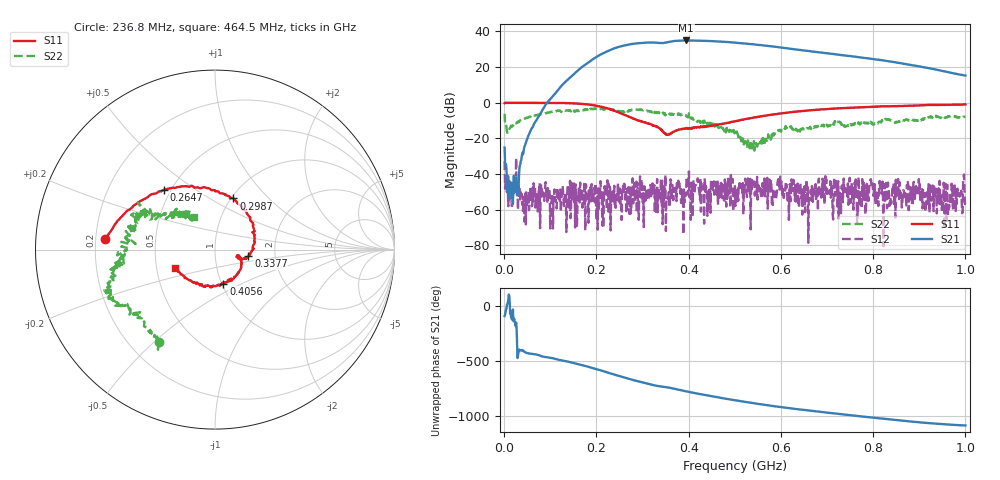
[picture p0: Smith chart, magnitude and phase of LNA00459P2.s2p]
! Created with skrf 1.9.0 (http://scikit-rf.org).
# Hz S RI R 50.0
!freq ReS11 ImS11 ReS21 ImS21 ReS12 ImS12 ReS22 ImS22
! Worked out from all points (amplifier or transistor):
!   1001 points, 1 MHz to 1 GHz, reference 50 ohm
!   highest |S21| = 35.0 dB at 394.6 MHz (marker M1)
!   |S21| within 3 dB of that: 257.5 MHz to 569.1 MHz (311.7 MHz wide, 75.4 % of centre)
!   unconditionally stable (mu >= 1): 3.472 MHz to 52.85 MHz; 298.4 MHz to 400.3 MHz; 400.8 MHz to end of sweep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
!   at 166.8 MHz: K = 1.79, MAG = 32.2 dB, |S12| = -55.0 dB
!   at 500.5 MHz: K = 2.07, MAG = 34.4 dB, |S12| = -46.9 dB
!   at 1 GHz: K = 7.32, MAG = 23.4 dB, |S12| = -54.7 dB
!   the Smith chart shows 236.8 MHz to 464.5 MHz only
!   S11 on the Smith chart (normalised r, x): 236.8 MHz: 0.24, +0.05; 264.7 MHz: 0.46, +0.38; 298.7 MHz: 1.02, +0.64; 337.7 MHz: 1.45, -0.11; 405.6 MHz: 1.02, -0.41; 464.5 MHz: 0.62, -0.13
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1000000  0.9733 -0.0103  0.00154 -0.0556  -0.00557 0.0219  0.3966 0.2941
1.08892e8  0.5277 -0.8437  -0.82 -1.516  0.00234 -0.00289  0.4208 -0.3852
1.67833e8  -0.2245 -0.9018  -9.862 -0.5289  -0.00227 0.00136  0.0324 -0.6307
2.07793e8  -0.6572 -0.4239  -15.8 15.47  0.000859 -0.00257  -0.2071 -0.6517
2.36764e8  -0.6103 0.0586  -4.71 32.52  -0.0021 0.00141  -0.3118 -0.5156
2.64736e8  -0.2859 0.3332  18.56 37.18  -0.000573 -0.000709  -0.4654 -0.3434
2.98702e8  0.1024 0.2853  43.43 19.71  -0.00578 0.00297  -0.601 -0.2091
3.17683e8  0.2101 0.1363  48.72 3.874  -0.00444 0.00134  -0.5733 -0.1117
3.34666e8  0.1987 -0.0155  47.12 -8.859  -0.00267 -0.000718  -0.5402 -0.0144
3.37663e8  0.186 -0.0373  46.43 -10.41  -0.000739 0.00295  -0.5055 -0.0346
3.67633e8  0.1437 -0.056  44.93 -29.64  0.00138 0.00316  -0.4451 0.1555
3.94606e8  0.096 -0.1659  29.3 -47.76  0.0024 0.00284  -0.3936 0.2086
4.05595e8  0.047 -0.192  21.16 -51.79  0.0036 0.00449  -0.2994 0.2014
4.33567e8  -0.0884 -0.1933  -0.3717 -54.54  -0.000378 0.000153  -0.2171 0.228
4.64536e8  -0.2237 -0.1004  -21.75 -48.11  0.00343 0.00014  -0.1184 0.1804
5.005e8  -0.2925 0.0863  -37.65 -31.32  0.00303 0.00336  -0.0902 0.1146
5.4046e8  -0.2405 0.2992  -42.29 -10.11  0.00479 9.61e-05  -0.0651 0.0199
5.88412e8  -0.0576 0.4764  -35.61 10.43  0.000264 -0.00285  -0.1123 -0.0785
6.67333e8  0.3163 0.5347  -14.5 23.25  -0.00113 -0.00448  -0.2089 -0.0542
7.55245e8  0.6284 0.3677  3.102 19.7  -0.000693 -0.00204  -0.2451 0.0138
8.34166e8  0.7846 0.142  10.15 10.44  -0.00176 -0.00236  -0.3382 -0.015
1e9  0.8111 -0.3867  5.718 -1.104  0.00046 0.00177  -0.3007 0.27
